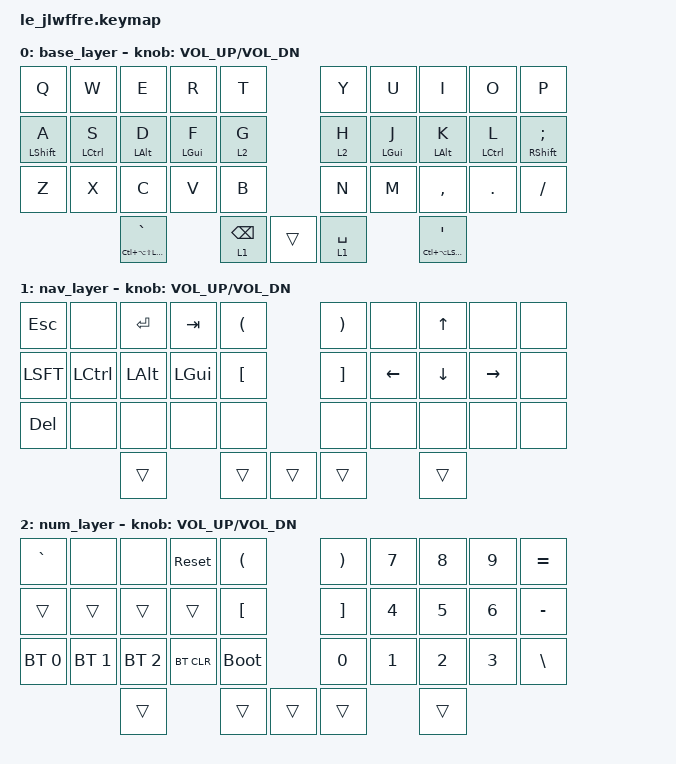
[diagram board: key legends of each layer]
/*
 * Copyright (c) 2022 The ZMK Contributors
 *
 * SPDX-License-Identifier: MIT
 */

#include <behaviors.dtsi>
#include <dt-bindings/zmk/keys.h>
#include <dt-bindings/zmk/bt.h>

&mt {
   tapping_term_ms = <190>;
};

/ {
    behaviors {
                hm: homerow_mods {
                        compatible = "zmk,behavior-hold-tap";
                        label = "HOMEROW_MODS";
                        #binding-cells = <2>;
                        tapping-term-ms = <190>;
                        quick-tap-ms = <0>;
                        flavor = "tap-preferred";
                        bindings = <&kp>, <&kp>;
                };
                hl: homerow_layers {
                        compatible = "zmk,behavior-hold-tap";
                        label = "HOMEROW_LAYERS";
                        #binding-cells = <2>;
                        tapping-term-ms = <190>;
                        quick-tap-ms = <0>;
                        flavor = "tap-preferred";
                        bindings = <&mo>, <&kp>;
                };
   };

    keymap {
        compatible = "zmk,keymap";

        base_layer {
                bindings = <
                        &kp Q         &kp W         &kp E         &kp R         &kp T                         &kp Y         &kp U         &kp I         &kp O         &kp P
                        &hm LSHFT A   &hm LCTRL S   &hm LALT D    &hm LGUI F    &hl 2 G                       &hl 2 H       &hm LGUI J    &hm LALT K    &hm LCTRL L   &hm RSHFT SEMI
                        &kp Z         &kp X         &kp C         &kp V         &kp B                         &kp N         &kp M         &kp COMMA     &kp DOT       &kp FSLH
                                                    &hm LC(LA(LS(LGUI))) GRAVE  &lt 1 BSPC       &trans       &lt 1 SPACE                 &hm LC(LA(LSHFT)) SQT        
                >;
                sensor-bindings = <&inc_dec_kp C_VOL_UP C_VOL_DN>;
         };

        nav_layer {
                bindings = <
                        &kp ESC       &none         &kp RET        &kp TAB       &kp LPAR                     &kp RPAR      &none         &kp UP       &none          &none 
                        &kp LSFT      &kp LCTRL     &kp LALT       &kp LGUI      &kp LBKT                     &kp RBKT      &kp LEFT      &kp DOWN     &kp RIGHT      &none
                        &kp DEL       &none         &none          &none         &none                        &none         &none         &none        &none          &none
                                                    &trans                       &trans         &trans        &trans                      &trans
                >;
                sensor-bindings = <&inc_dec_kp C_VOL_UP C_VOL_DN>;
         };

         num_layer {
                bindings = <
                        &kp GRAVE     &none        &none           &sys_reset    &kp LPAR                     &kp RPAR      &kp N7         &kp N8      &kp N9          &kp EQUAL
                        &trans        &trans       &trans          &trans        &kp LBKT                     &kp RBKT      &kp N4         &kp N5      &kp N6          &kp MINUS
                        &bt BT_SEL 0  &bt BT_SEL 1 &bt BT_SEL 2    &bt BT_CLR    &bootloader                  &kp N0        &kp N1         &kp N2      &kp N3          &kp BSLH
                                                   &trans                        &trans         &trans        &trans                       &trans
                >;
                sensor-bindings = <&inc_dec_kp C_VOL_UP C_VOL_DN>;
         };
    };
};
